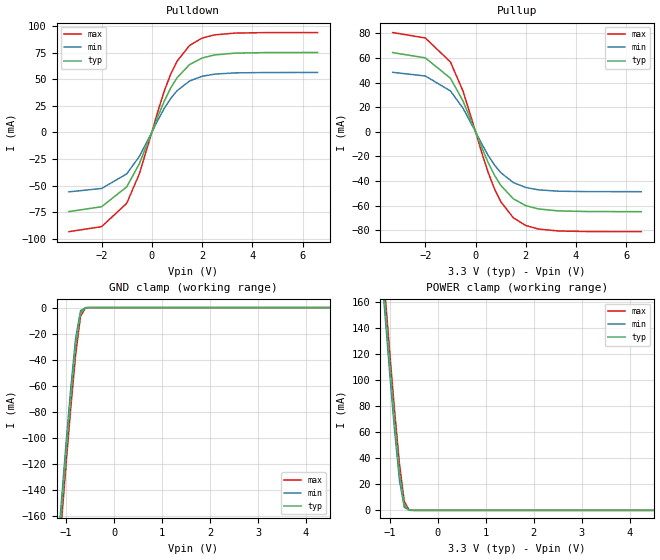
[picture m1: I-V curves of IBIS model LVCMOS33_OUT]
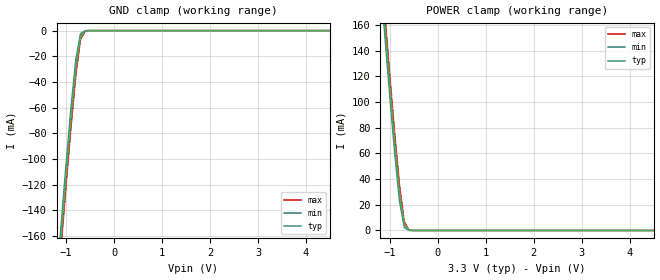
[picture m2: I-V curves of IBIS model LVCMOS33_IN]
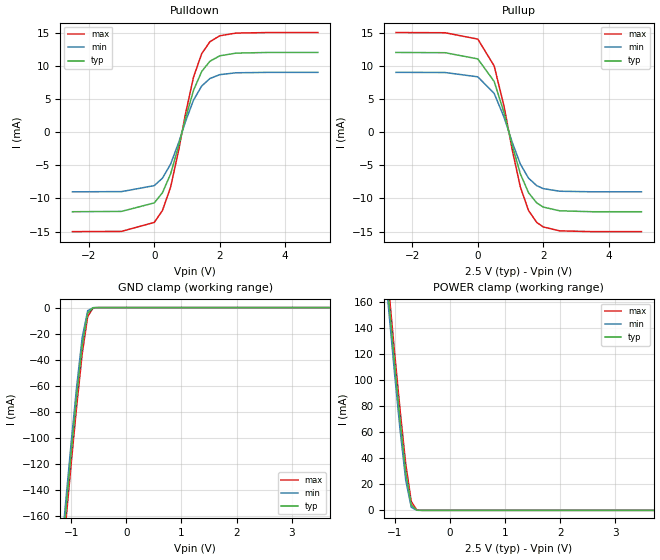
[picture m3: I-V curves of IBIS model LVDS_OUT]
| A made-up device for the example `examples/ibis_signal_integrity`: a 3.3 V
| LVCMOS output and input, and an LVDS-like differential output and input with
| an on-die 100 ohm termination. The values do not describe a real device:
| the tables follow simple formulas (a driver saturating like a transistor,
| clamp diodes with 2 ohms in series), not measurements. The edges are given by
| [Ramp] only; files from vendors usually have [Rising Waveform] and
| [Falling Waveform] tables as well, which cuprite_wire uses when present.
[IBIS Ver]   5.0
[File Name]   demo_io.ibs
[File Rev]   1.0
[Date]   2026-11-23
[Source]   Written by hand for the examples of cuprite_wire.
[Disclaimer]   Not a real device.
[Component]   DEMO-IO
[Manufacturer]  None (a made-up device)
[Package]
| variable  typ   min   max
R_pkg   0.2   0.15   0.3
L_pkg   2.5nH   2.0nH   3.0nH
C_pkg   0.6pF   0.5pF   0.7pF
[Pin]  signal_name  model_name
1   CLK_OUT   LVCMOS33_OUT
2   CLK_IN   LVCMOS33_IN
3   TX_P   LVDS_OUT
4   TX_N   LVDS_OUT
5   RX_P   LVDS_IN
6   RX_N   LVDS_IN
7   VDD33   POWER
8   VDD25   POWER
9   GND   GND
[Diff Pin]  inv_pin  vdiff  tdelay_typ  tdelay_min  tdelay_max
3   4   NA   0ns   NA   NA
5   6   100mV  NA   NA   NA
| The receiver's termination between its pins.
[Series Pin Mapping]  pin_2  model_name
5   6   ODT100
| The on-die termination of the LVDS-like input.
[Model]   ODT100
Model_type   Series
[R Series]   100   90   110
| Models and submodels in the file (5): LVCMOS33_OUT (Output), LVCMOS33_IN (Input), LVDS_OUT (Output), LVDS_IN (Input), ODT100 (Series)
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| 3.3 V LVCMOS output: about 16 ohms low and 19 ohms high, saturating at 75 mA
| and 65 mA (typical).
[Model]   LVCMOS33_OUT
Model_type   Output
C_comp   2.5pF   2.0pF   3.0pF
[Voltage Range] 3.3V   3.0V   3.6V
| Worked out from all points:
|   slope of the pulldown table from 0 to 0.495 V, typ, clamps not added: 16.9 ohm
|   slope of the pullup table from 0 to 0.495 V, typ, clamps not added: 20 ohm
|   GND clamp passes 1 mA (typ) near -0.62 V on its own axis
|   POWER clamp passes 1 mA (typ) near -0.62 V on its own axis
[Pulldown]
| voltage   I(typ)   I(min)   I(max)
-3.3V     -74.39mA   -55.85mA   -93.22mA
-2V       -69.83mA   -52.68mA   -88.54mA
-1V       -51.17mA   -39.01mA   -66.64mA
-500mV    -29.56mA   -22.67mA   -39.12mA
250mV     15.4mA     11.84mA    20.5mA
500mV     29.56mA    22.67mA    39.12mA
750mV     41.59mA    31.81mA    54.64mA
1V        51.17mA    39.01mA    66.64mA
1.5V      63.62mA    48.21mA    81.57mA
2V        69.83mA    52.68mA    88.54mA
2.5V      72.71mA    54.7mA     91.57mA
6.6V      75mA       56.25mA    93.75mA
[Pullup]
| voltage   I(typ)   I(min)   I(max)
-3.3V     64.38mA    48.35mA    80.71mA
-2V       60.1mA     45.35mA    76.27mA
-1V       43.51mA    33.19mA    56.73mA
-500mV    24.97mA    19.15mA    33.06mA
250mV     -12.98mA   -9.978mA   -17.28mA
500mV     -24.97mA   -19.15mA   -33.06mA
750mV     -35.24mA   -26.96mA   -46.33mA
1V        -43.51mA   -33.19mA   -56.73mA
1.5V      -54.47mA   -41.3mA    -69.92mA
2V        -60.1mA    -45.35mA   -76.27mA
2.5V      -62.77mA   -47.24mA   -79.11mA
6.6V      -65mA      -48.75mA   -81.25mA
[GND Clamp]
| voltage   I(typ)   I(min)   I(max)
-3.3V     -1.231A    -1.222A    -1.24A
-1.2V     -203.9mA   -195.5mA   -212.3mA
-1V       -111.7mA   -103.7mA   -119.7mA
-900mV    -68.08mA   -60.62mA   -75.67mA
-800mV    -29.07mA   -23.09mA   -35.47mA
-700mV    -4.171mA   -2.393mA   -6.804mA
-600mV    -119.2uA   -59.88uA   -236.3uA
6.6V      0A         0A         0A
[POWER Clamp]
| voltage   I(typ)   I(min)   I(max)
-3.3V     1.231A     1.222A     1.24A
-1.2V     203.9mA    195.5mA    212.3mA
-1V       111.7mA    103.7mA    119.7mA
-900mV    68.08mA    60.62mA    75.67mA
-800mV    29.07mA    23.09mA    35.47mA
-700mV    4.171mA    2.393mA    6.804mA
-600mV    119.2uA    59.88uA    236.3uA
6.6V      0A         0A         0A
[Ramp]
| variable  typ   min   max
dV/dt_r   1.35/0.50n   1.18/0.75n   1.49/0.35n
dV/dt_f   1.44/0.45n   1.28/0.70n   1.56/0.30n
R_load = 50
| 3.3 V LVCMOS input.
[Model]   LVCMOS33_IN
Model_type   Input
Vinl = 0.8V
Vinh = 2.0V
C_comp   3.0pF   2.5pF   3.5pF
[Voltage Range] 3.3V   3.0V   3.6V
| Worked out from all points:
|   GND clamp passes 1 mA (typ) near -0.62 V on its own axis
|   POWER clamp passes 1 mA (typ) near -0.62 V on its own axis
[GND Clamp]
| voltage   I(typ)   I(min)   I(max)
-3.3V     -1.231A    -1.222A    -1.24A
-1.2V     -203.9mA   -195.5mA   -212.3mA
-1V       -111.7mA   -103.7mA   -119.7mA
-900mV    -68.08mA   -60.62mA   -75.67mA
-800mV    -29.07mA   -23.09mA   -35.47mA
-700mV    -4.171mA   -2.393mA   -6.804mA
-600mV    -119.2uA   -59.88uA   -236.3uA
6.6V      0A         0A         0A
[POWER Clamp]
| voltage   I(typ)   I(min)   I(max)
-3.3V     1.231A     1.222A     1.24A
-1.2V     203.9mA    195.5mA    212.3mA
-1V       111.7mA    103.7mA    119.7mA
-900mV    68.08mA    60.62mA    75.67mA
-800mV    29.07mA    23.09mA    35.47mA
-700mV    4.171mA    2.393mA    6.804mA
-600mV    119.2uA    59.88uA    236.3uA
6.6V      0A         0A         0A
| One pin of the LVDS-like output on 2.5 V: 1.55 V (high) or 0.85 V (low)
| through about 50 ohms, limited to 12 mA (typical). Into a 100 ohm
| termination, the pair swings by +-350 mV around 1.2 V.
[Model]   LVDS_OUT
Model_type   Output
C_comp   1.0pF   0.8pF   1.2pF
[Voltage Range] 2.5V   2.375V   2.625V
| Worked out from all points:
|   slope of the pulldown table from 0 to 0.375 V, typ, clamps not added: 127 ohm
|   slope of the pullup table from 0 to 0.375 V, typ, clamps not added: 147 ohm
|   GND clamp passes 1 mA (typ) near -0.62 V on its own axis
|   POWER clamp passes 1 mA (typ) near -0.62 V on its own axis
[Pulldown]
| voltage   I(typ)   I(min)   I(max)
-2.5V     -12mA      -9mA       -15mA
-1V       -11.95mA   -8.968mA   -14.96mA
0V        -10.67mA   -8.067mA   -13.61mA
250mV     -9.139mA   -6.949mA   -11.82mA
500mV     -6.301mA   -4.822mA   -8.29mA
950mV     1.982mA    1.524mA    2.639mA
1.2V      6.301mA    4.822mA    8.29mA
1.45V     9.139mA    6.949mA    11.82mA
1.7V      10.67mA    8.067mA    13.61mA
2V        11.49mA    8.654mA    14.51mA
2.5V      11.9mA     8.936mA    14.92mA
5V        12mA       9mA        15mA
[Pullup]
| voltage   I(typ)   I(min)   I(max)
-2.5V     12mA       9mA        15mA
-1V       11.96mA    8.977mA    14.97mA
0V        11.03mA    8.327mA    14.01mA
500mV     7.622mA    5.818mA    9.961mA
800mV     2.939mA    2.258mA    3.908mA
1.05V     -1.982mA   -1.524mA   -2.639mA
1.3V      -6.301mA   -4.822mA   -8.29mA
1.55V     -9.139mA   -6.949mA   -11.82mA
1.8V      -10.67mA   -8.067mA   -13.61mA
2V        -11.3mA    -8.516mA   -14.3mA
2.5V      -11.86mA   -8.911mA   -14.88mA
5V        -12mA      -9mA       -15mA
[GND Clamp]
| voltage   I(typ)   I(min)   I(max)
-2.5V     -835.7mA   -826.8mA   -844.5mA
-1.2V     -203.9mA   -195.5mA   -212.3mA
-1V       -111.7mA   -103.7mA   -119.7mA
-900mV    -68.08mA   -60.62mA   -75.67mA
-800mV    -29.07mA   -23.09mA   -35.47mA
-700mV    -4.171mA   -2.393mA   -6.804mA
-600mV    -119.2uA   -59.88uA   -236.3uA
5V        0A         0A         0A
[POWER Clamp]
| voltage   I(typ)   I(min)   I(max)
-2.5V     835.7mA    826.8mA    844.5mA
-1.2V     203.9mA    195.5mA    212.3mA
-1V       111.7mA    103.7mA    119.7mA
-900mV    68.08mA    60.62mA    75.67mA
-800mV    29.07mA    23.09mA    35.47mA
-700mV    4.171mA    2.393mA    6.804mA
-600mV    119.2uA    59.88uA    236.3uA
5V        0A         0A         0A
[Ramp]
| variable  typ   min   max
dV/dt_r   0.47/150p   0.42/200p   0.51/110p
dV/dt_f   0.50/150p   0.45/200p   0.54/110p
R_load = 50
